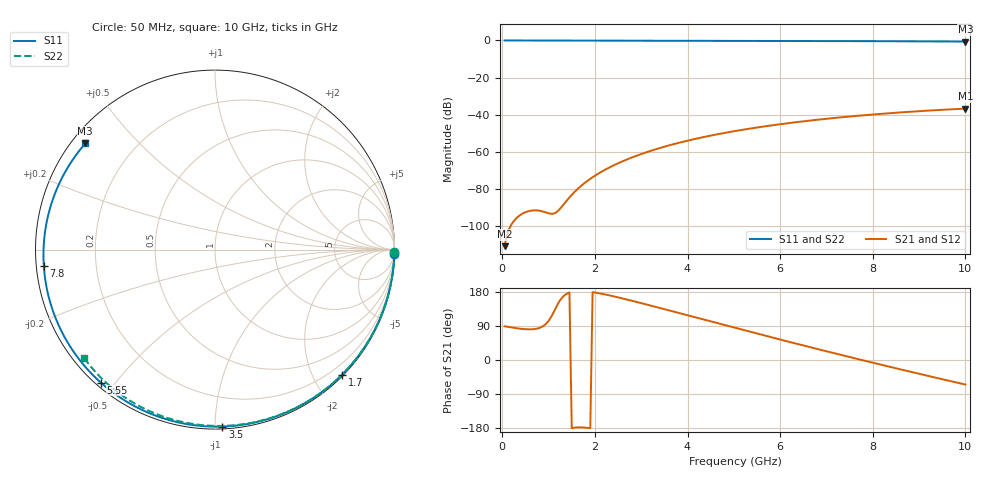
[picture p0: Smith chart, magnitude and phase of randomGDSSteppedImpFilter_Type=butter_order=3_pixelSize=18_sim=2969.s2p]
! freq	dB(S11)	phase(S11)	dB(S12)	phase(S12)
!  dB(S21)	phase(S21)	dB(S22)	phase(S22)
!S-par simulation data
#  GHz  S  DB  R 50
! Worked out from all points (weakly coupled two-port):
!   200 points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, 50 MHz to 10 GHz, reference 50 ohm
!   highest |S21| = -36.70 dB at 10 GHz (marker M1); lowest = -110.7 dB at 50 MHz (marker M2)
!   lowest |S11| = -0.6 dB at 10 GHz (marker M3), VSWR 29.21, Z = 1.93 + j17.8 ohm
!   |S11| at or under -10 dB: nowhere
!   |S22| runs from -0.5 to 0.0 dB; largest |S21 - S12| = 0
!   S11 on the Smith chart (normalised r, x): 50 MHz: 0, -85; 1.7 GHz: 0.02, -2.44; 3.5 GHz: 0.01, -1.04; 5.55 GHz: 0.01, -0.46; 7.8 GHz: 0.02, -0.05; 10 GHz: 0.04, +0.36
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0.05  -0.00 -1.4  -110.74 89.0  -110.74 89.0  -0.00 -0.8
0.4  -0.01 -10.7  -93.74 82.4  -93.74 82.4  -0.01 -6.5
0.8  -0.03 -21.3  -91.63 84.6  -91.63 84.6  -0.02 -12.9
1.2  -0.04 -31.8  -91.84 148.0  -91.84 148.0  -0.02 -19.3
1.6  -0.05 -42.1  -80.56 -178.0  -80.56 -178.0  -0.03 -25.7
1.7  -0.06 -44.6  -78.32 -177.7  -78.32 -177.7  -0.03 -27.2
1.75  -0.06 -45.9  -77.29 -178.0  -77.29 -178.0  -0.04 -28.0
2.05  -0.07 -53.4  -72.03 177.1  -72.03 177.1  -0.04 -32.7
2.45  -0.08 -63.2  -66.69 166.7  -66.69 166.7  -0.05 -38.9
2.9  -0.09 -73.8  -62.03 153.2  -62.03 153.2  -0.06 -45.8
3.4  -0.11 -85.3  -57.91 137.3  -57.91 137.3  -0.07 -53.3
3.5  -0.11 -87.6  -57.19 134.1  -57.19 134.1  -0.07 -54.8
4.25  -0.14 -104.0  -52.53 109.9  -52.53 109.9  -0.09 -65.7
5.05  -0.18 -120.6  -48.67 84.1  -48.67 84.1  -0.12 -77.0
5.55  -0.21 -130.7  -46.67 68.2  -46.67 68.2  -0.14 -83.9
6.15  -0.24 -142.5  -44.61 49.3  -44.61 49.3  -0.16 -92.0
6.7  -0.28 -153.2  -42.97 32.2  -42.97 32.2  -0.19 -99.2
7.25  -0.32 -163.8  -41.54 15.4  -41.54 15.4  -0.23 -106.3
7.8  -0.37 -174.5  -40.28 -1.1  -40.28 -1.1  -0.26 -113.3
8.35  -0.42 174.7  -39.18 -17.4  -39.18 -17.4  -0.31 -120.1
9.15  -0.50 158.6  -37.83 -40.7  -37.83 -40.7  -0.38 -130.0
10  -0.59 140.7  -36.70 -64.8  -36.70 -64.8  -0.48 -140.5
